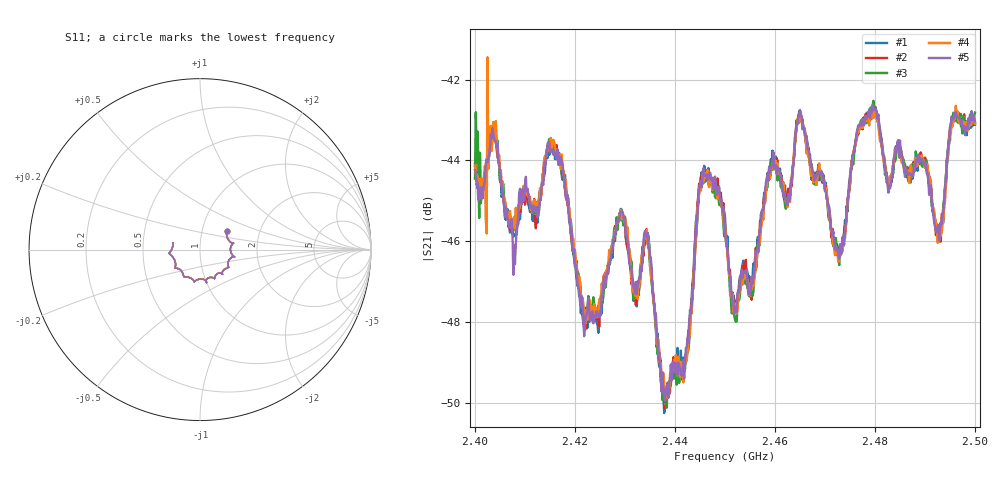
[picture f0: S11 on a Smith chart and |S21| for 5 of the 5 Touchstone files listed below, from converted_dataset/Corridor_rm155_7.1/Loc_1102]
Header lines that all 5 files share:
# Hz S RI R 50
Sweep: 2.4 GHz to 2.5 GHz
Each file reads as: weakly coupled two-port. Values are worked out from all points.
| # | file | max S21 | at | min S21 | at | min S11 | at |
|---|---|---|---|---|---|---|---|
| 1 | Lab_139_4Ch1.s2p | -42.67 dB | 2.48 GHz | -50.2 dB | 2.4378 GHz | -15.9 dB | 2.4898 GHz |
| 2 | Lab_139_5Ch1.s2p | -42.74 dB | 2.4795 GHz | -50.1 dB | 2.4378 GHz | -15.9 dB | 2.4898 GHz |
| 3 | Lab_139_6Ch1.s2p | -42.53 dB | 2.4797 GHz | -50.1 dB | 2.4383 GHz | -15.9 dB | 2.4895 GHz |
| 4 | Lab_139_7Ch1.s2p | -41.45 dB | 2.4025 GHz | -49.9 dB | 2.4382 GHz | -15.9 dB | 2.4898 GHz |
| 5 | Lab_139_9Ch1.s2p | -42.62 dB | 2.4795 GHz | -49.9 dB | 2.438 GHz | -15.9 dB | 2.4897 GHz |
